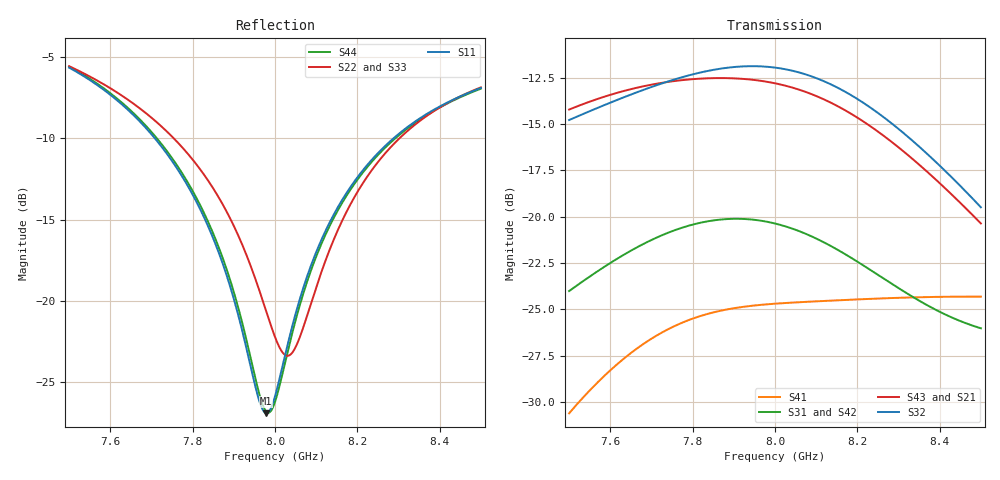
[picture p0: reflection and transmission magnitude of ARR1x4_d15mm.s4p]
! Touchstone file exported from HFSS 2025.1.0
!  File:  C:/Users/user/Documents/Ansoft/TFG_UWB-MIMO-Array.aedt
!  Generated:  05:34:56 PM Nov 20, 2026
!  Design:  ARR1x4_P01_MS2_dparam
!  Project:  TFG_UWB-MIMO-Array
!  Setup:  Setup_ch9
!  Solution:  Sweep_7p5_8p5
! Variables:
!  arr_d = 15mm
!  board_m = 13mm
!  board_x = 71mm
!  board_y = 26mm
!  cu_t = 0.035mm
!  line_w = 3.92mm
!  pad_xy = 22mm
!  pad_zn = 25mm
!  pad_zp = 33mm
!  patch_L = 7.322mm
!  patch_W = 11.421266mm
!  sub_h = 2.07mm
!  tr_l = 7.1mm
!  tr_w = 0.8mm
# GHz S MA R 50.000000
! Terminal data exported
! Port[1] = P1
! Port[2] = P2
! Port[3] = P3
! Port[4] = P4
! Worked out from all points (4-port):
!   1001 points, 7.5 GHz to 8.5 GHz, reference 50 ohm
!   strongest paths, dB at 7.5 GHz, 7.75 GHz, 8 GHz, 8.25 GHz, 8.5 GHz:
!     S32: -14.8, -12.6, -12.0, -14.4, -19.5
!     S43: -14.2, -12.7, -12.8, -15.4, -20.4
!     S21: -14.2, -12.7, -12.8, -15.4, -20.4
!     S31: -24.0, -20.8, -20.4, -23.1, -26.0
!     S42: -24.1, -20.8, -20.4, -23.2, -26.1
!     S41: -30.6, -26.0, -24.7, -24.4, -24.3
!   lowest |S11| = -26.9 dB at 7.979 GHz (marker M1), VSWR 1.09, Z = 54.3 + j2 ohm
!   |S11| at or under -10 dB: 7.708 GHz to 8.288 GHz (580.2 MHz wide, 7.25 % of centre)
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7.5  0.5209 161.5  0.1946 -15.8  0.06301 -132.6  0.02948 86.6
     0.1946 -15.8  0.5263 166.5  0.1823 -12.3  0.06252 -132.1
     0.06301 -132.6  0.1823 -12.3  0.5251 166.4  0.1945 -15.7
     0.02948 86.6  0.06252 -132.1  0.1945 -15.7  0.525 161.7
7.794  0.219 121.9  0.2346 -68.8  0.09481 152.9  0.0528 -15.7
       0.2346 -68.8  0.2776 132.5  0.2412 -61.6  0.09416 153.4
       0.09481 152.9  0.2412 -61.6  0.2756 132.5  0.2347 -68.7
       0.0528 -15.7  0.09416 153.4  0.2347 -68.7  0.2245 122.4
7.881  0.1215 102.5  0.2364 -85.6  0.09852 126.3  0.05614 -51.5
       0.2364 -85.6  0.1897 116.1  0.252 -79.1  0.09782 126.8
       0.09852 126.3  0.252 -79.1  0.1876 116.1  0.2365 -85.5
       0.05614 -51.5  0.09782 126.8  0.2365 -85.5  0.1268 103.5
7.979  0.04517 24.0  0.2312 -105.3  0.09699 94.5  0.05801 -93.5
       0.2312 -105.3  0.09268 77.9  0.2539 -100.2  0.09627 95.0
       0.09699 94.5  0.2539 -100.2  0.09079 77.4  0.2314 -105.3
       0.05801 -93.5  0.09627 95.0  0.2314 -105.3  0.0457 30.7
8.042  0.08376 -40.6  0.2229 -118.4  0.09287 73.2  0.05865 -120.8
       0.2229 -118.4  0.06938 14.4  0.2477 -114.3  0.09214 73.6
       0.09287 73.2  0.2477 -114.3  0.06883 12.9  0.223 -118.3
       0.05865 -120.8  0.09214 73.6  0.223 -118.3  0.07976 -38.5
8.177  0.2178 -76.8  0.1914 -146.4  0.07843 26.0  0.05966 -177.3
       0.1914 -146.4  0.1914 -61.9  0.2153 -144.4  0.07772 26.3
       0.07843 26.0  0.2153 -144.4  0.1922 -62.2  0.1918 -146.3
       0.05966 -177.3  0.07772 26.3  0.1918 -146.3  0.2137 -76.5
8.5  0.4511 -117.5  0.09514 156.7  0.05 -83.9  0.06087 77.7
     0.09514 156.7  0.4531 -114.2  0.106 155.5  0.04953 -84.0
     0.05 -83.9  0.106 155.5  0.4534 -114.3  0.09589 156.9
     0.06087 77.7  0.04953 -84.0  0.09589 156.9  0.4488 -117.6
